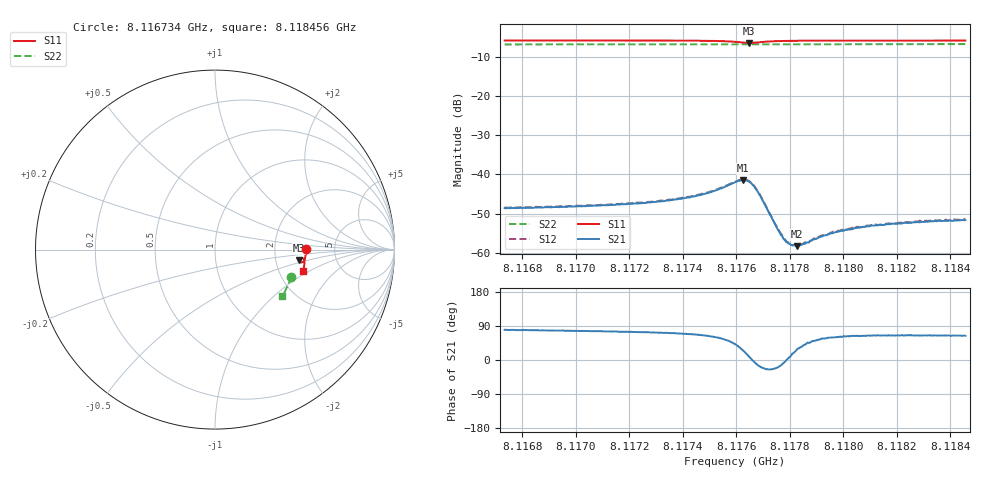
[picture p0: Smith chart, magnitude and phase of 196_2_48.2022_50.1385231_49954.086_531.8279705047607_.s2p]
#  HZ  S  RI  R  50.00
! Rohde & Schwarz Vector Network Analyzer
! Rohde-Schwarz,ZNB20-2Port,1311601062101988,3.16
! Created: UTC 3/20/2024, 11:44:50 AM
! freq[Hz]  re:S11  im:S11  re:S21  im:S21  re:S12  im:S12  re:S22  im:S22
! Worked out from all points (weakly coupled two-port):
!   401 points, 8.116734 GHz to 8.118456 GHz, reference 50 ohm
!   highest |S21| = -41.49 dB at 8.117625 GHz (marker M1); lowest = -58.3 dB at 8.117828 GHz (marker M2)
!   lowest |S11| = -6.5 dB at 8.117647 GHz (marker M3), VSWR 2.79, Z = 136 - j20.5 ohm
!   |S11| at or under -10 dB: nowhere
!   |S22| runs from -6.9 to -6.8 dB; largest |S21 - S12| = 0.00023
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8.1167343e9  0.5065 0.00337  0.000675 0.00365  0.00076 0.00367  0.4241 -0.1515
8.1170227e9  0.5058 -0.0192  0.000904 0.00379  0.000988 0.00387  0.4176 -0.1707
8.1173111e9  0.5029 -0.0429  0.0014 0.00427  0.00144 0.00432  0.4103 -0.1895
8.1174187e9  0.5007 -0.0531  0.00183 0.0047  0.00193 0.00478  0.4071 -0.1965
8.1174747e9  0.4985 -0.0591  0.00231 0.00505  0.00245 0.00512  0.4056 -0.2002
8.117522e9  0.4951 -0.0647  0.00308 0.0054  0.00316 0.00547  0.404 -0.2031
8.1175952e9  0.4815 -0.0716  0.0059 0.00529  0.00601 0.00535  0.4014 -0.2078
8.1176253e9  0.4721 -0.0673  0.00762 0.0036  0.00779 0.0036  0.4002 -0.2093
8.1176468e9  0.4688 -0.0586  0.00795 0.00134  0.00811 0.00128  0.3995 -0.2102
8.1176641e9  0.4712 -0.0515  0.00714 -0.00039  0.0073 -0.000462  0.3991 -0.2109
8.1176813e9  0.4768 -0.0472  0.00576 -0.00142  0.00585 -0.0015  0.3991 -0.2117
8.1177458e9  0.4934 -0.0518  0.0021 -0.000863  0.00214 -0.000915  0.3979 -0.2161
8.117776e9  0.4962 -0.0566  0.0015 -0.000216  0.00157 -0.000267  0.3969 -0.218
8.1177975e9  0.4974 -0.0595  0.00129 0.000161  0.00132 0.000175  0.3963 -0.2195
8.1178147e9  0.4979 -0.0619  0.0012 0.000405  0.00119 0.000375  0.3958 -0.2207
8.1178276e9  0.4982 -0.0636  0.00106 0.000583  0.00113 0.000552  0.3955 -0.2215
8.1178836e9  0.4987 -0.07  0.000935 0.00112  0.000964 0.0011  0.3936 -0.225
8.1179137e9  0.4986 -0.0732  0.000918 0.00129  0.000948 0.00133  0.3927 -0.2269
8.1179912e9  0.4982 -0.0804  0.000909 0.00166  0.000943 0.00171  0.3901 -0.2319
8.1180945e9  0.4969 -0.0894  0.000941 0.00197  0.000977 0.002  0.3866 -0.2382
8.118172e9  0.4958 -0.0956  0.000986 0.00208  0.000978 0.00216  0.3839 -0.2429
8.1184561e9  0.4911 -0.1174  0.00115 0.00233  0.00117 0.00245  0.3737 -0.26
